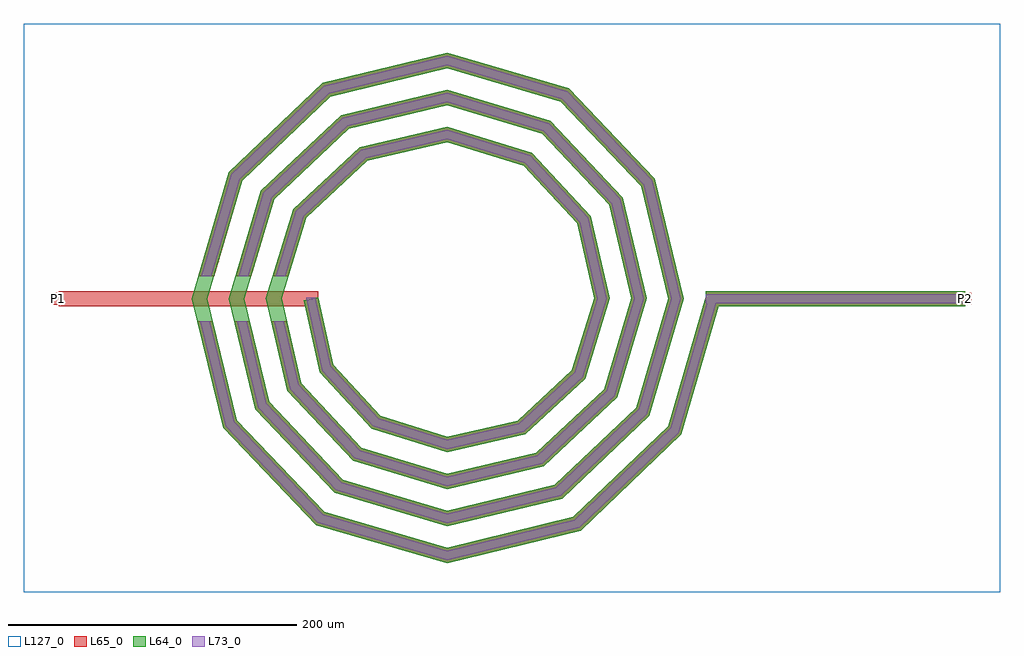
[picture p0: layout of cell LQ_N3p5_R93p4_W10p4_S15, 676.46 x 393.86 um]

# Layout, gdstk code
import gdstk
lib = gdstk.Library(unit=1e-6, precision=1e-09)
def R(c, l, rs):  # rectangles x0, y0, x1, y1
    for r in rs: c.add(gdstk.rectangle(r[:2], r[2:], *l))
def P(c, l, *ps):  # polygons
    for p in ps: c.add(gdstk.Polygon(p, *l))
L64_0 = (64, 0)
L65_0 = (65, 0)
L73_0 = (73, 0)
L127_0 = (127, 0)

lq_n3p5_r93p4_w10p4_s15 = lib.new_cell('LQ_N3p5_R93p4_W10p4_S15')
R(lq_n3p5_r93p4_w10p4_s15, L64_0, [(179.191,-5.2,359.191,5.2)])
P(lq_n3p5_r93p4_w10p4_s15, L64_0, [(-78.899,-45.809),(-46.498,-80.973),(0.213,-95.514),(49.008,-84.467),(86.528,-49.721),(101.937,0.2),(90.036,52.209),(52.942,92.084),(0.189,108.359),(-55.411,95.603),(-97.641,56.163),(-114.782,0.179),(-101.17,-58.614),(-59.382,-103.198),(0.17,-121.204),(61.817,-106.737),(108.756,-62.601),(127.627,0.162),(112.303,65.022),(65.819,114.315),(0.154,134.05),(-68.227,117.869),(-119.873,69.036),(-140.472,0.147),(-123.434,-71.432),(-72.253,-125.432),(0.141,-146.895),(74.639,-128.999),(130.992,-75.469),(153.318,0.135),(134.564,77.845),(78.686,136.551),(0.13,159.74),(-81.052,140.129),(-142.111,81.901),(-166.163,0.125),(-145.694,-84.259),(-85.117,-147.671),(0.121,-172.586),(87.467,-151.258),(153.231,-88.332),(179.399,1.455),(189.383,-1.455),(162.435,-93.918),(92.642,-160.7),(0.121,-183.35),(-90.711,-156.871),(-155.14,-89.427),(-176.928,0.125),(-151.306,87.503),(-86.211,149.58),(0.13,170.505),(84.296,145.741),(144.02,82.996),(164.082,0.135),(140.176,-81.089),(79.779,-138.46),(0.141,-157.659),(-77.883,-134.611),(-132.901,-76.563),(-151.236,0.147),(-129.045,74.677),(-73.345,127.342),(0.154,144.813),(71.471,123.479),(121.783,70.128),(138.39,0.162),(117.913,-68.267),(66.909,-116.224),(0.17,-131.967),(-65.062,-112.346),(-110.666,-63.69),(-125.544,0.179),(-106.779,61.859),(-60.47,105.108),(0.189,119.12),(58.656,101.211),(99.551,57.249),(112.697,0.2),(95.642,-55.455),(54.027,-93.995),(0.213,-106.274),(-52.255,-90.073),(-88.439,-50.803),(-99.546,-1.135),(-89.397,1.135)])
R(lq_n3p5_r93p4_w10p4_s15, L65_0, [(-269.271,-5.2,-89.271,5.2), (179.191,-5.2,359.191,5.2), (-273.271,-4,-265.271,4), (355.191,-4,363.191,4)])
P(lq_n3p5_r93p4_w10p4_s15, L65_0, [(-145.694,-84.259),(-85.117,-147.671),(0.121,-172.586),(87.467,-151.258),(153.231,-88.332),(179.399,1.455),(189.383,-1.455),(162.435,-93.918),(92.642,-160.7),(0.121,-183.351),(-90.711,-156.871),(-155.14,-89.427),(-173.102,-15.6),(-162.398,-15.6)],
  [(-123.434,-71.432),(-72.253,-125.432),(0.141,-146.895),(74.639,-128.999),(130.992,-75.47),(153.318,0.136),(134.564,77.845),(78.686,136.551),(0.13,159.74),(-81.052,140.129),(-142.111,81.901),(-161.552,15.6),(-172.39,15.6),(-151.306,87.503),(-86.212,149.58),(0.13,170.505),(84.296,145.741),(144.02,82.996),(164.082,0.136),(140.176,-81.089),(79.779,-138.46),(0.141,-157.659),(-77.883,-134.611),(-132.901,-76.563),(-147.472,-15.6),(-136.779,-15.6)],
  [(-101.17,-58.614),(-59.382,-103.198),(0.17,-121.204),(61.817,-106.737),(108.756,-62.601),(127.627,0.162),(112.303,65.022),(65.819,114.315),(0.154,134.05),(-68.227,117.869),(-119.873,69.036),(-135.784,15.6),(-146.635,15.6),(-129.045,74.677),(-73.345,127.342),(0.154,144.813),(71.472,123.479),(121.783,70.128),(138.39,0.162),(117.913,-68.267),(66.909,-116.224),(0.17,-131.967),(-65.062,-112.346),(-110.666,-63.69),(-121.868,-15.6),(-111.19,-15.6)],
  [(-46.498,-80.973),(0.213,-95.514),(49.008,-84.468),(86.528,-49.721),(101.937,0.2),(90.036,52.209),(52.942,92.084),(0.189,108.359),(-55.411,95.603),(-97.641,56.163),(-109.981,15.6),(-120.852,15.6),(-106.779,61.859),(-60.47,105.108),(0.189,119.12),(58.657,101.211),(99.551,57.249),(112.697,0.2),(95.642,-55.455),(54.027,-93.995),(0.213,-106.274),(-52.255,-90.073),(-88.439,-50.803),(-99.546,-1.135),(-89.397,1.135),(-78.899,-45.809)])
R(lq_n3p5_r93p4_w10p4_s15, L73_0, [(179.191,-3.2,359.191,3.2)])
P(lq_n3p5_r93p4_w10p4_s15, L73_0, [(-147.51,-85.253),(-86.192,-149.44),(0.074,-174.656),(88.462,-153.074),(155.001,-89.406),(181.319,0.895),(187.463,0.895),(160.665,-92.844),(91.647,-158.884),(0.074,-181.28),(-89.635,-155.102),(-153.323,-88.433),(-171.043,-15.6),(-164.457,-15.6)],
  [(-125.255,-72.419),(-73.336,-127.197),(0.087,-148.965),(75.627,-130.819),(132.758,-76.55),(155.388,0.083),(136.383,78.836),(79.765,138.319),(0.08,161.811),(-82.044,141.947),(-143.879,82.979),(-163.636,15.6),(-170.306,15.6),(-149.538,86.426),(-85.219,147.762),(0.08,168.435),(83.217,143.974),(142.202,82.005),(162.012,0.083),(138.41,-80.009),(78.791,-136.641),(0.087,-155.589),(-76.8,-132.846),(-131.08,-75.576),(-145.416,-15.6),(-138.835,-15.6)],
  [(-102.996,-59.59),(-60.475,-104.958),(0.105,-123.274),(62.797,-108.561),(110.517,-63.69),(129.697,0.1),(114.126,66.004),(66.906,116.077),(0.095,136.12),(-69.211,119.69),(-121.637,70.121),(-137.87,15.6),(-144.548,15.6),(-127.281,73.592),(-72.361,125.52),(0.095,142.743),(70.384,121.717),(119.96,69.146),(136.32,0.1),(116.152,-67.177),(65.93,-114.4),(0.105,-129.897),(-63.97,-110.587),(-108.84,-62.714),(-119.815,-15.6),(-113.243,-15.6)],
  [(-47.605,-82.723),(0.131,-97.584),(49.973,-86.3),(88.281,-50.824),(104.006,0.123),(91.866,53.178),(54.041,93.839),(0.116,110.429),(-56.384,97.431),(-99.398,57.258),(-112.072,15.6),(-118.762,15.6),(-105.021,60.764),(-59.497,103.28),(0.116,117.051),(57.558,99.456),(97.721,56.28),(110.628,0.123),(93.89,-54.352),(53.062,-92.162),(0.131,-104.205),(-51.148,-88.323),(-86.604,-49.843),(-97.594,0.698),(-91.349,0.698),(-80.733,-46.77)])
R(lq_n3p5_r93p4_w10p4_s15, L127_0, [(-293.271,-203.351,383.191,190.505)])
lq_n3p5_r93p4_w10p4_s15.add(gdstk.Label('P2', (359.191,0), layer=65, texttype=0))
lq_n3p5_r93p4_w10p4_s15.add(gdstk.Label('P1', (-269.271,0), layer=65, texttype=0))
lq_n3p5_r93p4_w10p4_s15.add(gdstk.Label('P2', (363.191,0), layer=145, texttype=0))
lq_n3p5_r93p4_w10p4_s15.add(gdstk.Label('P1', (-273.271,0), layer=145, texttype=0))

lib.write_gds('LQ_N3p5_R93p4_W10p4_S15.gds')
